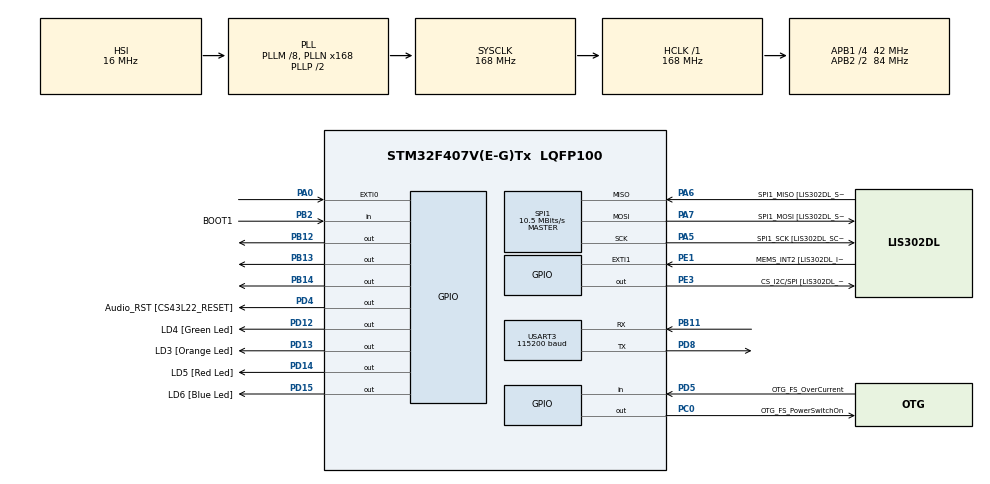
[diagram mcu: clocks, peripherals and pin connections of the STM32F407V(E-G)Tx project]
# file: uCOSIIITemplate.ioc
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Mcu.Family=STM32F4
Mcu.Name=STM32F407V(E-G)Tx
Mcu.Package=LQFP100
NVIC.EXTI0_IRQn=true\:0\:0\:false
NVIC.PriorityGroup=NVIC_PRIORITYGROUP_0
NVIC.SPI1_IRQn=true\:0\:0\:false
NVIC.USART3_IRQn=true\:0\:0\:false
PA0-WKUP.GPIO_ModeDefaultEXTI=GPIO_MODE_IT_RISING
PA0-WKUP.GPIO_PuPd=GPIO_NOPULL
PA0-WKUP.Signal=GPXTI0
PA10.GPIO_Label=OTG_FS_ID
PA10.GPIO_Mode=GPIO_MODE_AF_PP
PA10.GPIO_PuPd=GPIO_NOPULL
PA10.GPIO_Speed=GPIO_SPEED_LOW
PA10.Signal=USB_OTG_FS_ID
PA11.GPIO_Label=OTG_FS_DM
PA11.GPIO_Mode=GPIO_MODE_AF_PP
PA11.GPIO_PuPd=GPIO_NOPULL
PA11.GPIO_Speed=GPIO_SPEED_LOW
PA11.Signal=USB_OTG_FS_DM
PA12.GPIO_Label=OTG_FS_DP
PA12.GPIO_Mode=GPIO_MODE_AF_PP
PA12.GPIO_PuPd=GPIO_NOPULL
PA12.GPIO_Speed=GPIO_SPEED_LOW
PA12.Signal=USB_OTG_FS_DP
PA13.GPIO_Label=SWDIO
PA13.Signal=SYS_JTMS-SWDIO
PA14.GPIO_Label=SWCLK
PA14.Signal=SYS_JTCK-SWCLK
PA4.GPIO_Label=I2S3_WS [CS43L22_LRCK]
PA4.GPIO_Mode=GPIO_MODE_AF_PP
PA4.GPIO_PuPd=GPIO_NOPULL
PA4.GPIO_Speed=GPIO_SPEED_LOW
PA4.Signal=I2S3_WS
PA5.GPIO_Label=SPI1_SCK [LIS302DL_SCL/SPC]
PA5.GPIO_Mode=GPIO_MODE_AF_PP
PA5.GPIO_PuPd=GPIO_NOPULL
PA5.GPIO_Speed=GPIO_SPEED_LOW
PA5.Mode=Full_Duplex_Master
PA5.Signal=SPI1_SCK
PA6.GPIO_Label=SPI1_MISO [LIS302DL_SDO]
PA6.GPIO_Mode=GPIO_MODE_AF_PP
PA6.GPIO_PuPd=GPIO_NOPULL
PA6.GPIO_Speed=GPIO_SPEED_LOW
PA6.Mode=Full_Duplex_Master
PA6.Signal=SPI1_MISO
PA7.GPIO_Label=SPI1_MOSI [LIS302DL_SDA/SDI/SDO]
PA7.GPIO_Mode=GPIO_MODE_AF_PP
PA7.GPIO_PuPd=GPIO_NOPULL
PA7.GPIO_Speed=GPIO_SPEED_LOW
PA7.Mode=Full_Duplex_Master
PA7.Signal=SPI1_MOSI
PA9.GPIO_Label=VBUS_FS
PA9.GPIO_Mode=GPIO_MODE_INPUT
PA9.GPIO_PuPd=GPIO_NOPULL
PA9.Signal=USB_OTG_FS_VBUS
PB10.GPIO_Label=CLK_IN [MP45DT02_CLK]
PB10.GPIO_Mode=GPIO_MODE_AF_PP
PB10.GPIO_PuPd=GPIO_NOPULL
PB10.GPIO_Speed=GPIO_SPEED_LOW
PB10.Signal=I2S2_CK
PB11.Mode=Asynchronous
PB11.Signal=USART3_RX
PB12.Signal=GPIO_Output
PB13.Signal=GPIO_Output
PB14.Signal=GPIO_Output
PB2.GPIO_Label=BOOT1
PB2.GPIO_Mode=GPIO_MODE_INPUT
PB2.GPIO_PuPd=GPIO_NOPULL
PB2.Signal=GPIO_Input
PB3.GPIO_Label=SWO
PB3.Signal=SYS_JTDO-SWO
PB6.GPIO_Label=Audio_SCL [CS43L22_SCL]
PB6.GPIO_Mode=GPIO_MODE_AF_OD
PB6.GPIO_PuPd=GPIO_NOPULL
PB6.GPIO_Speed=GPIO_SPEED_LOW
PB6.Signal=I2C1_SCL
PB9.GPIO_Label=Audio_SDA [CS43L22_SDA]
PB9.GPIO_Mode=GPIO_MODE_AF_OD
PB9.GPIO_PuPd=GPIO_NOPULL
PB9.GPIO_Speed=GPIO_SPEED_LOW
PB9.Signal=I2C1_SDA
PC0.GPIO_Label=OTG_FS_PowerSwitchOn
PC0.GPIO_PuPd=GPIO_NOPULL
PC0.GPIO_Speed=GPIO_SPEED_LOW
PC0.Signal=GPIO_Output
PC10.GPIO_Label=I2S3_SCK [CS43L22_SCLK]
PC10.GPIO_Mode=GPIO_MODE_AF_PP
PC10.GPIO_PuPd=GPIO_NOPULL
PC10.GPIO_Speed=GPIO_SPEED_LOW
PC10.Signal=I2S3_CK
PC12.GPIO_Label=I2S3_SD [CS43L22_SDIN]
PC12.GPIO_Mode=GPIO_MODE_AF_PP
PC12.GPIO_PuPd=GPIO_NOPULL
PC12.GPIO_Speed=GPIO_SPEED_LOW
PC12.Signal=I2S3_SD
PC14-OSC32_IN.GPIO_Label=PC14-OSC32_IN
PC14-OSC32_IN.Signal=RCC_OSC32_IN
PC15-OSC32_OUT.GPIO_Label=PC15-OSC32_OUT
PC15-OSC32_OUT.Signal=RCC_OSC32_OUT
PC3.GPIO_Label=PDM_OUT [MP45DT02_DOUT]
PC3.GPIO_Mode=GPIO_MODE_AF_PP
PC3.GPIO_PuPd=GPIO_NOPULL
PC3.GPIO_Speed=GPIO_SPEED_LOW
PC3.Signal=I2S2_SD
PC7.GPIO_Label=I2S3_MCK [CS43L22_MCLK]
PC7.GPIO_Mode=GPIO_MODE_AF_PP
PC7.GPIO_PuPd=GPIO_NOPULL
PC7.GPIO_Speed=GPIO_SPEED_LOW
PC7.Signal=I2S3_MCK
PD12.GPIO_Label=LD4 [Green Led]
PD12.GPIO_PuPd=GPIO_NOPULL
PD12.GPIO_Speed=GPIO_SPEED_LOW
PD12.Signal=GPIO_Output
PD13.GPIO_Label=LD3 [Orange Led]
PD13.GPIO_PuPd=GPIO_NOPULL
PD13.GPIO_Speed=GPIO_SPEED_LOW
PD13.Signal=GPIO_Output
PD14.GPIO_Label=LD5 [Red Led]
PD14.GPIO_PuPd=GPIO_NOPULL
PD14.GPIO_Speed=GPIO_SPEED_LOW
PD14.Signal=GPIO_Output
PD15.GPIO_Label=LD6 [Blue Led]
PD15.GPIO_PuPd=GPIO_NOPULL
PD15.GPIO_Speed=GPIO_SPEED_LOW
PD15.Signal=GPIO_Output
PD4.GPIO_Label=Audio_RST [CS43L22_RESET]
PD4.GPIO_PuPd=GPIO_NOPULL
PD4.GPIO_Speed=GPIO_SPEED_LOW
PD4.Signal=GPIO_Output
PD5.GPIO_Label=OTG_FS_OverCurrent
PD5.GPIO_Mode=GPIO_MODE_INPUT
PD5.GPIO_PuPd=GPIO_NOPULL
PD5.Signal=GPIO_Input
PD8.Mode=Asynchronous
PD8.Signal=USART3_TX
PE1.GPIO_Label=MEMS_INT2 [LIS302DL_INT2]
PE1.GPIO_ModeDefaultEXTI=GPIO_MODE_EVT_RISING
PE1.GPIO_PuPd=GPIO_NOPULL
PE1.Signal=GPXTI1
PE3.GPIO_Label=CS_I2C/SPI [LIS302DL_CS_I2C/SPI]
PE3.GPIO_PuPd=GPIO_NOPULL
PE3.GPIO_Speed=GPIO_SPEED_LOW
PE3.Signal=GPIO_Output
PH0-OSC_IN.GPIO_Label=PH0-OSC_IN
PH0-OSC_IN.Signal=RCC_OSC_IN
PH1-OSC_OUT.GPIO_Label=PH1-OSC_OUT
PH1-OSC_OUT.Signal=RCC_OSC_OUT
ProjectManager.HeapSize=0x400
ProjectManager.StackSize=0x200
ProjectManager.TargetToolchain=MDK-ARM V5
RCC.48MHZClocksFreq_Value=48000000
RCC.AHBFreq_Value=168000000
RCC.APB1CLKDivider=RCC_HCLK_DIV4
RCC.APB1Freq_Value=42000000
RCC.APB1TimFreq_Value=84000000
RCC.APB2CLKDivider=RCC_HCLK_DIV2
RCC.APB2Freq_Value=84000000
RCC.APB2TimFreq_Value=168000000
RCC.CortexFreq_Value=168000000
RCC.HCLKFreq_Value=168000000
RCC.HSE_VALUE=8000000
RCC.HSI_VALUE=16000000
RCC.LSE_VALUE=32768
RCC.PLLM=8
RCC.PLLN=168
RCC.PLLQ=7
RCC.SYSCLKFreq_VALUE=168000000
RCC.SYSCLKSource=RCC_SYSCLKSOURCE_PLLCLK
RCC.VCOOutputFreq_Value=336000000
SPI1.BaudRatePrescaler=SPI_BAUDRATEPRESCALER_8
SPI1.CalculateBaudRate=10.5 MBits/s
SPI1.Mode=SPI_MODE_MASTER
USART3.BaudRate=115200
board=STM32F4DISCOVERY

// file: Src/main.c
/**
  ******************************************************************************
  * File Name          : main.c
  * Description        : Main program body
  ******************************************************************************
  *
  * COPYRIGHT(c) 2016 STMicroelectronics
  *
  * Redistribution and use in source and binary forms, with or without modification,
  * are permitted provided that the following conditions are met:
  *   1. Redistributions of source code must retain the above copyright notice,
  *      this list of conditions and the following disclaimer.
  *   2. Redistributions in binary form must reproduce the above copyright notice,
  *      this list of conditions and the following disclaimer in the documentation
  *      and/or other materials provided with the distribution.
  *   3. Neither the name of STMicroelectronics nor the names of its contributors
  *      may be used to endorse or promote products derived from this software
  *      without specific prior written permission.
  *
  * THIS SOFTWARE IS PROVIDED BY THE COPYRIGHT HOLDERS AND CONTRIBUTORS "AS IS"
  * AND ANY EXPRESS OR IMPLIED WARRANTIES, INCLUDING, BUT NOT LIMITED TO, THE
  * IMPLIED WARRANTIES OF MERCHANTABILITY AND FITNESS FOR A PARTICULAR PURPOSE ARE
  * DISCLAIMED. IN NO EVENT SHALL THE COPYRIGHT HOLDER OR CONTRIBUTORS BE LIABLE
  * FOR ANY DIRECT, INDIRECT, INCIDENTAL, SPECIAL, EXEMPLARY, OR CONSEQUENTIAL
  * DAMAGES (INCLUDING, BUT NOT LIMITED TO, PROCUREMENT OF SUBSTITUTE GOODS OR
  * SERVICES; LOSS OF USE, DATA, OR PROFITS; OR BUSINESS INTERRUPTION) HOWEVER
  * CAUSED AND ON ANY THEORY OF LIABILITY, WHETHER IN CONTRACT, STRICT LIABILITY,
  * OR TORT (INCLUDING NEGLIGENCE OR OTHERWISE) ARISING IN ANY WAY OUT OF THE USE
  * OF THIS SOFTWARE, EVEN IF ADVISED OF THE POSSIBILITY OF SUCH DAMAGE.
  *
  ******************************************************************************
  */
#include "stm32f4xx_hal.h"
#include "spi.h"
#include "usart.h"
#include "gpio.h"

/* USER CODE BEGIN Includes */
#include  <stdarg.h>
#include  <stdio.h>
#include  <math.h>

#include  <cpu.h>
#include  <lib_math.h>
#include  <lib_mem.h>
#include  <os.h>
#include  <os_app_hooks.h>

#include  <app_cfg.h>
#include  <bsp.h>
/* USER CODE END Includes */

/* USER CODE BEGIN PV */

/* Private variables ---------------------------------------------------------*/
static  OS_TCB       AppTaskStartTCB;
static  CPU_STK      AppTaskStartStk[APP_CFG_TASK_START_STK_SIZE];

        OS_TCB       AppTaskLed1TCB;
static  CPU_STK      AppTaskLed1Stk[APP_CFG_TASK_LED1_STK_SIZE];

static  OS_TCB       AppTaskUARTTCB;
static  CPU_STK      AppTaskUARTStk[APP_CFG_TASK_UART_STK_SIZE];

        OS_TCB       AppTaskServerTCB;
static  CPU_STK      AppTaskServerStk[APP_CFG_TASK_SERVER_STK_SIZE];

OS_SEM       AppTaskSemLed1;
/* USER CODE END PV */

void SystemClock_Config(void);

/* USER CODE BEGIN PFP */
/* Private function prototypes -----------------------------------------------*/
extern  CPU_INT32U  BSP_ButtonBlueRd(void);
extern  void        BSP_USART_Putc(UART_HandleTypeDef* UARTx, uint8_t* str);

static  void  AppTaskStart (void  *p_arg);
static  void  AppTaskCreate(void);
static  void  AppObjCreate (void);

static  void  AppTaskLed1(void);
static  void  AppTaskUARTSend(void * p_arg);
static  void  AppTaskServer(void *p_arg);

/* USER CODE END PFP */

int main(void)
{

  /* USER CODE BEGIN 1 */
    OS_ERR   err;
  /* USER CODE END 1 */

  /* MCU Configuration----------------------------------------------------------*/

  /* Reset of all peripherals, Initializes the Flash interface and the Systick. */
  HAL_Init();

  /* Configure the system clock */
  SystemClock_Config();

  /* Initialize all configured peripherals */
  MX_GPIO_Init();
  MX_USART3_UART_Init();
  MX_SPI1_Init();

  /* USER CODE BEGIN 2 */
  Mem_Init();
	Math_Init();
	#if (CPU_CFG_NAME_EN == DEF_ENABLED)
    CPU_NameSet((CPU_CHAR *)"STM32F407VG",
                (CPU_ERR  *)&err);
  #endif

    BSP_IntDisAll();                                            /* Disable all Interrupts.                              */

    OSInit(&err);                                               /* Init uC/OS-III.                                      */
    App_OS_SetAllHooks();
    OSTaskCreate(&AppTaskStartTCB,                              /* Create the start task                                */
                  "App Task Start",
                  AppTaskStart,
                  0u,
                  APP_CFG_TASK_START_PRIO,
                 &AppTaskStartStk[0u],
                  AppTaskStartStk[APP_CFG_TASK_START_STK_SIZE / 10u],
                  APP_CFG_TASK_START_STK_SIZE,
                  0u,
                  0u,
                  0u,
                 (OS_OPT_TASK_STK_CHK | OS_OPT_TASK_STK_CLR),
                 &err);

    OSStart(&err);                                              /* Start multitasking (i.e. give control to uC/OS-III). */
  /* USER CODE END 2 */

  /* Infinite loop */
  while (1)
  {

  }

}

/** System Clock Configuration
*/
void SystemClock_Config(void)
{

  RCC_OscInitTypeDef RCC_OscInitStruct;
  RCC_ClkInitTypeDef RCC_ClkInitStruct;

  __PWR_CLK_ENABLE();

  __HAL_PWR_VOLTAGESCALING_CONFIG(PWR_REGULATOR_VOLTAGE_SCALE1);

  RCC_OscInitStruct.OscillatorType = RCC_OSCILLATORTYPE_HSI;
  RCC_OscInitStruct.HSIState = RCC_HSI_ON;
  RCC_OscInitStruct.HSICalibrationValue = 16;
  RCC_OscInitStruct.PLL.PLLState = RCC_PLL_ON;
  RCC_OscInitStruct.PLL.PLLSource = RCC_PLLSOURCE_HSI;
  RCC_OscInitStruct.PLL.PLLM = 8;
  RCC_OscInitStruct.PLL.PLLN = 168;
  RCC_OscInitStruct.PLL.PLLP = RCC_PLLP_DIV2;
  RCC_OscInitStruct.PLL.PLLQ = 7;
  HAL_RCC_OscConfig(&RCC_OscInitStruct);

  RCC_ClkInitStruct.ClockType = RCC_CLOCKTYPE_HCLK|RCC_CLOCKTYPE_SYSCLK
                              |RCC_CLOCKTYPE_PCLK1|RCC_CLOCKTYPE_PCLK2;
  RCC_ClkInitStruct.SYSCLKSource = RCC_SYSCLKSOURCE_PLLCLK;
  RCC_ClkInitStruct.AHBCLKDivider = RCC_SYSCLK_DIV1;
  RCC_ClkInitStruct.APB1CLKDivider = RCC_HCLK_DIV4;
  RCC_ClkInitStruct.APB2CLKDivider = RCC_HCLK_DIV2;
  HAL_RCC_ClockConfig(&RCC_ClkInitStruct, FLASH_LATENCY_5);

  HAL_SYSTICK_Config(HAL_RCC_GetHCLKFreq()/1000);

  HAL_SYSTICK_CLKSourceConfig(SYSTICK_CLKSOURCE_HCLK);

  /* SysTick_IRQn interrupt configuration */
  HAL_NVIC_SetPriority(SysTick_IRQn, 0, 0);
}

/* USER CODE BEGIN 4 */
/*
*********************************************************************************************************
*                                          STARTUP TASK
*
* Description : This is an example of a startup task.  As mentioned in the book's text, you MUST
*               initialize the ticker only once multitasking has started.
*
* Arguments   : p_arg   is the argument passed to 'AppTaskStart()' by 'OSTaskCreate()'.
*
* Returns     : none
*
* Notes       : 1) The first line of code is used to prevent a compiler warning because 'p_arg' is not
*                  used.  The compiler should not generate any code for this statement.
*********************************************************************************************************
*/

static  void  AppTaskStart (void *p_arg)
{
    OS_ERR      err;

    BSP_Init();                                                 /* Initialize BSP functions                             */
    CPU_Init();                                                 /* Initialize the uC/CPU services                       */

#if OS_CFG_STAT_TASK_EN > 0u
    OSStatTaskCPUUsageInit(&err);                               /* Compute CPU capacity with no task running            */
#endif

#ifdef CPU_CFG_INT_DIS_MEAS_EN
    CPU_IntDisMeasMaxCurReset();
#endif

#if (APP_CFG_SERIAL_EN == DEF_ENABLED)

#endif
    AppTaskCreate();                                            /* Create Application tasks                             */
    AppObjCreate();

		OSTaskDel((OS_TCB * )0,&err);

}

/*
*********************************************************************************************************
*                                          AppTaskCreate()
*
* Description : Create Application Tasks.
*
* Argument(s) : none
*
* Return(s)   : none
*
* Caller(s)   : AppTaskStart()
*
* Note(s)     : none.
*********************************************************************************************************
*/

static  void  AppTaskCreate (void)
{
    OS_ERR  os_err;

                                                                /* ---------- CREATE KERNEL OBJECTS TEST TASK --------- */
	  OSTaskCreate(&AppTaskLed1TCB,                               /* Create Led1 task                                */
                  "App Task Led1",
                  (OS_TASK_PTR)AppTaskLed1,
                  0u,
                  APP_CFG_TASK_LED1_PRIO,
                 &AppTaskLed1Stk[0u],
                  AppTaskLed1Stk[APP_CFG_TASK_LED1_STK_SIZE / 10u],
                  APP_CFG_TASK_LED1_STK_SIZE,
                  0u,
                  0u,
                  0u,
                 (OS_OPT_TASK_STK_CHK | OS_OPT_TASK_STK_CLR),
                 &os_err);

		OSTaskCreate(&AppTaskUARTTCB,
								 "App Task UART",
								 (OS_TASK_PTR)AppTaskUARTSend,
								 0u,
								 APP_CFG_TASK_UART_PRIO,
								 &AppTaskUARTStk[0u],
								 AppTaskUARTStk[APP_CFG_TASK_UART_STK_SIZE / 10u],
								 APP_CFG_TASK_UART_STK_SIZE,
								 0u,
								 0u,
								 0u,
								 (OS_OPT_TASK_STK_CHK | OS_OPT_TASK_STK_CLR),
								 &os_err);

    OSTaskCreate(&AppTaskServerTCB,
								"App Task Server",
								(OS_TASK_PTR)AppTaskServer,
								0u,
								APP_CFG_TASK_SERVER_PRIO,
								&AppTaskServerStk[0u],
								AppTaskServerStk[APP_CFG_TASK_SERVER_STK_SIZE / 10u],
								APP_CFG_TASK_SERVER_STK_SIZE,
								0u,
								0u,
								0u,
								(OS_OPT_TASK_STK_CHK | OS_OPT_TASK_STK_CLR),
								&os_err);
}

/*
*********************************************************************************************************
*                                          AppObjCreate()
*
* Description : Create Application Kernel Objects.
*
* Argument(s) : none
*
* Return(s)   : none
*
* Caller(s)   : AppTaskStart()
*
* Note(s)     : none.
*********************************************************************************************************
*/
static  void  AppObjCreate (void)
{
    OS_ERR  os_err;

	  OSSemCreate(&AppTaskSemLed1,
							  "Start blink",
								0,
							  &os_err);
}

/*
*********************************************************************************************************
*                                          AppTaskLed1()
*
* Description : Test uC/OS-III objects.
*
* Argument(s) : p_arg is the argument passed to 'AppTaskObj0' by 'OSTaskCreate()'.
*
* Return(s)   : none
*
* Caller(s)   : This is a task
*
* Note(s)     : none.
*********************************************************************************************************
*/
static void AppTaskLed1(void)
{
	OS_ERR os_err;
	while(DEF_TRUE)
	{
		BSP_LED_Toggle(1u);
		OSTimeDlyHMSM(0u, 0u, 0u, 50u,
                  OS_OPT_TIME_HMSM_STRICT,
                  &os_err);
	}
}

/*
*********************************************************************************************************
*                                             AppTaskUartSend()
*
* Description : This task transmit message by usart.
*
* Argument(s) : p_arg   is the argument
*
* Return(s)   : none.
*
* Note(s)     : none.
*********************************************************************************************************
*/

static void AppTaskUARTSend(void * p_arg)
{
	OS_ERR err;
	p_arg = p_arg;
  CPU_INT08U tx[] = "abcde";
	while(DEF_TRUE)
	{

	BSP_USART_Putc(&huart3,tx);

	OSTimeDlyHMSM(0u,0u,0u,500u,
								OS_OPT_TIME_HMSM_STRICT,
								&err);
	}

}

static void AppTaskServer(void * p_arg)
{
	OS_ERR err;
	CPU_TS ts;

	while(DEF_TRUE)
	{
		OSTaskSemPend(0u,
									OS_OPT_PEND_BLOCKING,
									&ts,
									&err);
		OSTimeDlyHMSM(0u,0u,0u,80u,
									OS_OPT_TIME_HMSM_STRICT,
									&err);
		if(BSP_ButtonBlueRd() == 1u)
		{
			OSTaskSemPost(&AppTaskLed1TCB,
										OS_OPT_POST_NONE,
										&err);
		}
	}
}

/* USER CODE END 4 */

/************************ (C) COPYRIGHT STMicroelectronics *****END OF FILE****/
